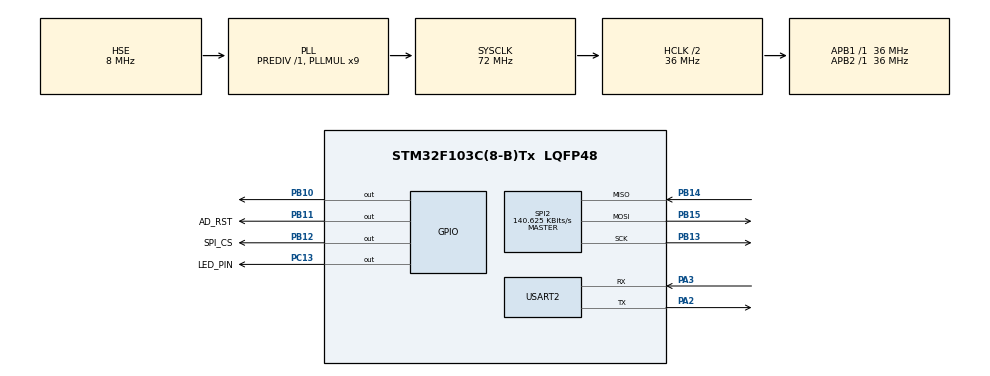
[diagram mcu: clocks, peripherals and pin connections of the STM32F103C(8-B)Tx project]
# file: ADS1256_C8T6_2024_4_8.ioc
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Mcu.Family=STM32F1
Mcu.Name=STM32F103C(8-B)Tx
Mcu.Package=LQFP48
NVIC.PriorityGroup=NVIC_PRIORITYGROUP_4
NVIC.TIM4_IRQn=true\:15\:0\:true\:false\:true\:true\:true\:true
NVIC.USART2_IRQn=true\:0\:0\:false\:false\:true\:true\:true\:true
PA13.Mode=Serial_Wire
PA13.Signal=SYS_JTMS-SWDIO
PA14.Mode=Serial_Wire
PA14.Signal=SYS_JTCK-SWCLK
PA2.Mode=Asynchronous
PA2.Signal=USART2_TX
PA3.Mode=Asynchronous
PA3.Signal=USART2_RX
PB10.Signal=GPIO_Output
PB11.GPIO_Label=AD_RST
PB11.Signal=GPIO_Output
PB12.GPIO_Label=SPI_CS
PB12.Signal=GPIO_Output
PB13.Mode=Full_Duplex_Master
PB13.Signal=SPI2_SCK
PB14.Mode=Full_Duplex_Master
PB14.Signal=SPI2_MISO
PB15.Mode=Full_Duplex_Master
PB15.Signal=SPI2_MOSI
PC13-TAMPER-RTC.GPIO_Label=LED_PIN
PC13-TAMPER-RTC.Signal=GPIO_Output
PD0-OSC_IN.Mode=HSE-External-Oscillator
PD0-OSC_IN.Signal=RCC_OSC_IN
PD1-OSC_OUT.Mode=HSE-External-Oscillator
PD1-OSC_OUT.Signal=RCC_OSC_OUT
ProjectManager.HeapSize=0x200
ProjectManager.StackSize=0x400
ProjectManager.TargetToolchain=MDK-ARM V5.32
RCC.AHBCLKDivider=RCC_SYSCLK_DIV2
RCC.AHBFreq_Value=36000000
RCC.APB1Freq_Value=36000000
RCC.APB1TimFreq_Value=36000000
RCC.APB2Freq_Value=36000000
RCC.APB2TimFreq_Value=36000000
RCC.HCLKFreq_Value=36000000
RCC.PLLMUL=RCC_PLL_MUL9
RCC.PLLSourceVirtual=RCC_PLLSOURCE_HSE
RCC.SYSCLKFreq_VALUE=72000000
RCC.SYSCLKSource=RCC_SYSCLKSOURCE_PLLCLK
RCC.USBFreq_Value=72000000
SPI2.BaudRatePrescaler=SPI_BAUDRATEPRESCALER_256
SPI2.CLKPhase=SPI_PHASE_2EDGE
SPI2.CalculateBaudRate=140.625 KBits/s
SPI2.Direction=SPI_DIRECTION_2LINES
SPI2.Mode=SPI_MODE_MASTER
SPI2.VirtualType=VM_MASTER
TIM4.AutoReloadPreload=TIM_AUTORELOAD_PRELOAD_ENABLE
TIM4.Period=999
TIM4.Prescaler=35999
USART2.VirtualMode=VM_ASYNC
VP_TIM4_VS_ClockSourceINT.Mode=Internal
board=custom

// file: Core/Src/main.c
/* USER CODE BEGIN Header */
/**
  ******************************************************************************
  * @file           : main.c
  * @brief          : Main program body
  ******************************************************************************
  * @attention
  *
  * Copyright (c) 2024 STMicroelectronics.
  * All rights reserved.
  *
  * This software is licensed under terms that can be found in the LICENSE file
  * in the root directory of this software component.
  * If no LICENSE file comes with this software, it is provided AS-IS.
  *
  ******************************************************************************
  */
/* USER CODE END Header */
#include "main.h"
#include "spi.h"
#include "tim.h"
#include "usart.h"
#include "gpio.h"

/* USER CODE BEGIN Includes */
#include "ads1256.h"

/* USER CODE END Includes */

/* USER CODE BEGIN PV */
uint32_t tick= 0;
/* USER CODE END PV */

void SystemClock_Config(void);
/* USER CODE BEGIN PFP */
void HAL_TIM_PeriodElapsedCallback(TIM_HandleTypeDef *htim)
{
    if(htim->Instance == TIM1)
    {
      tick++;
      if(tick == 1000){
        printf("tick=%d\n", tick);
        // Data_Print();
        tick = 0;

      }
      // __HAL_TIM_CLEAR_FLAG(&htim4,TIM_FLAG_UPDATE);			//清除中断标志�????
      // printf("hello world, tim\n");
    }
}
/* USER CODE END PFP */

int main(void)
{
  /* USER CODE BEGIN 1 */
    uint8_t ofc[3];
    uint8_t fsc[3];
    uint8_t a = '*';
    uint32_t fscc, ofcc;

  /* USER CODE END 1 */

  /* MCU Configuration--------------------------------------------------------*/

  /* Reset of all peripherals, Initializes the Flash interface and the Systick. */
  HAL_Init();

  /* Configure the system clock */
  SystemClock_Config();

  /* Initialize all configured peripherals */
  MX_GPIO_Init();
  MX_SPI2_Init();
  MX_USART2_UART_Init();
  MX_TIM4_Init();
  /* USER CODE BEGIN 2 */
  // HAL_TIM_Base_Start_IT(&htim4);
  printf("hello xwj!\n");
//  ADS1256_Init(ADS1256_GAIN_2, ADS1256_DRATE_1000SPS , 12);
//   AD_RST(0);
//   AD_RST(1);
//   printf("Before calibratio:\n");
//   AD_CAL_RegRead();
//   AD_SELFCAL();
//   printf("After calibration:\n");
//   AD_CAL_RegRead();
  ADS1256_Init(ADS1256_GAIN_1, ADS1256_DRATE_1000SPS , 1);

  // HAL_Delay(1000);
  // Data_Print();

//   printf("hello world\n");
  /* USER CODE END 2 */

  /* Infinite loop */
  while (1)
  {

    /* USER CODE BEGIN 3 */
    // Data_Print();
    //Matlab_Print();
    Transmit_To_Python();
    // HAL_Delay(1);
    // printf("hello world, tim\n");
    // printf("hello tick=%d\n", tick);

      // if(tick == 1000){

      //   printf("hello tick=%d\n", tick);
      //   // Data_Print();
      //   tick = 0;
      // }
      // if(tick == 10){
        // Data_Print();

      // if(tick != 10){
      //   // Data_Print();
      //   tick = 0;
      // }
      // printf("tick=%d\n", tick);

  }
  /* USER CODE END 3 */
}

void SystemClock_Config(void)
{
  RCC_OscInitTypeDef RCC_OscInitStruct = {0};
  RCC_ClkInitTypeDef RCC_ClkInitStruct = {0};

  /** Initializes the RCC Oscillators according to the specified parameters
  * in the RCC_OscInitTypeDef structure.
  */
  RCC_OscInitStruct.OscillatorType = RCC_OSCILLATORTYPE_HSE;
  RCC_OscInitStruct.HSEState = RCC_HSE_ON;
  RCC_OscInitStruct.HSEPredivValue = RCC_HSE_PREDIV_DIV1;
  RCC_OscInitStruct.HSIState = RCC_HSI_ON;
  RCC_OscInitStruct.PLL.PLLState = RCC_PLL_ON;
  RCC_OscInitStruct.PLL.PLLSource = RCC_PLLSOURCE_HSE;
  RCC_OscInitStruct.PLL.PLLMUL = RCC_PLL_MUL9;
  if (HAL_RCC_OscConfig(&RCC_OscInitStruct) != HAL_OK)
  {
    Error_Handler();
  }

  /** Initializes the CPU, AHB and APB buses clocks
  */
  RCC_ClkInitStruct.ClockType = RCC_CLOCKTYPE_HCLK|RCC_CLOCKTYPE_SYSCLK
                              |RCC_CLOCKTYPE_PCLK1|RCC_CLOCKTYPE_PCLK2;
  RCC_ClkInitStruct.SYSCLKSource = RCC_SYSCLKSOURCE_PLLCLK;
  RCC_ClkInitStruct.AHBCLKDivider = RCC_SYSCLK_DIV2;
  RCC_ClkInitStruct.APB1CLKDivider = RCC_HCLK_DIV1;
  RCC_ClkInitStruct.APB2CLKDivider = RCC_HCLK_DIV1;

  if (HAL_RCC_ClockConfig(&RCC_ClkInitStruct, FLASH_LATENCY_2) != HAL_OK)
  {
    Error_Handler();
  }
}

void Error_Handler(void)
{
  __disable_irq();
  while (1)
  {
  }
}
